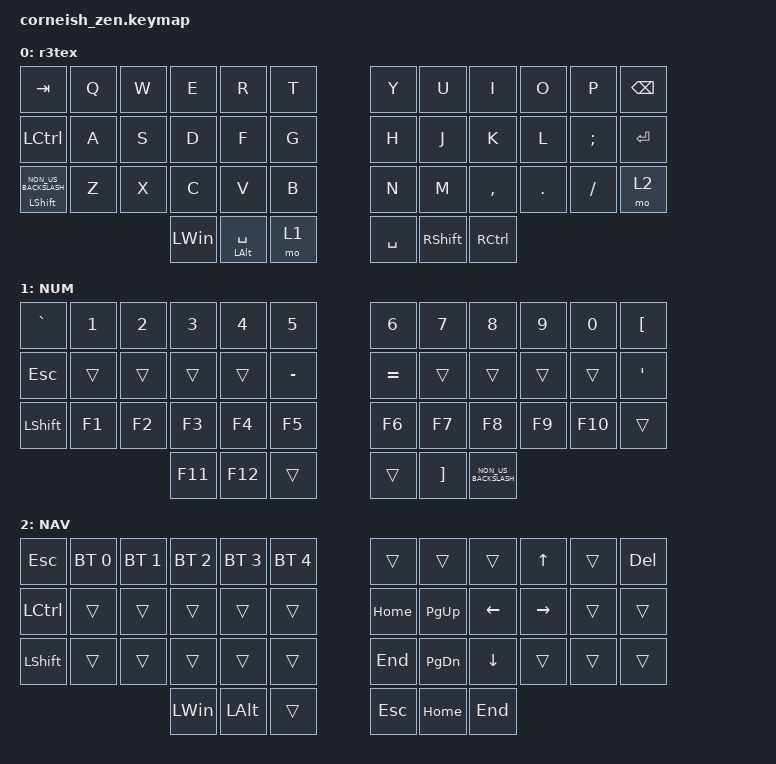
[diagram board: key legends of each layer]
/*
*
* Copyright (c) 2021 Darryl deHaan
* SPDX-License-Identifier: MIT
*
*/

#include <behaviors.dtsi>
#include <dt-bindings/zmk/keys.h>
#include <dt-bindings/zmk/bt.h>

/ {
  chosen {
    zmk,matrix_transform = &default_transform;
    //zmk,matrix_transform = &five_column_transform;
  };
};

/ {
        keymap {
                compatible = "zmk,keymap";

                default_layer {
                        label = "r3tex";
// -----------------------------------------------------------------------------------------
// |  TAB |  Q  |  W  |  E  |  R  |  T  |   |  Y  |  U   |  I  |  O  |  P  | BKSP |
// | LCTRL |  A  |  S  |  D  |  F  |  G  |   |  H  |  J   |  K  |  L  |  ;  | ENT  |
// | LSHFT \ |  Z  |  X  |  C  |  V  |  B  |   |  N  |  M   |  ,  |  .  |  /  | RSE  |
//                    | WIN | LALT SPACE | LWR |   | SPACE | RSE  | ALT |
                        bindings = <
   &kp TAB   &kp Q &kp W &kp E &kp R &kp T   &kp Y &kp U  &kp I     &kp O   &kp P    &kp BSPC
   &kp LCTRL &kp A &kp S &kp D &kp F &kp G   &kp H &kp J  &kp K     &kp L   &kp SEMI &kp RET
   &mt LSHFT NON_US_BACKSLASH &kp Z &kp X &kp C &kp V &kp B   &kp N &kp M  &kp COMMA &kp DOT &kp FSLH &mo 2
                   &kp LWIN &mt LALT SPACE &mo 1 &kp SPACE &kp RSHIFT &kp RCTRL
                        >;
                };



                lower_layer {
                        label = "NUM";
// -----------------------------------------------------------------------------------------
// | `    |  1  |  2  |  3  |  4  |  5  |   |  6  |  7  |  8  |  9  |  0  | [    |
// | ESC  |     |     |     |     | -   |   | =   |     |     |     |     | '    |
// |LSHIFT| F1  | F2  | F3  | F4  | F5  |   | F6  | F7  | F8  | F9  | F10 |      |
//                    | F11 | F12 |     |   |     | ]   | \   |
                        bindings = <
   &kp GRAVE  &kp N1   &kp N2   &kp N3   &kp N4   &kp N5    &kp N6    &kp N7   &kp N8   &kp N9  &kp N0   &kp LBKT
   &kp ESC    &trans   &trans   &trans   &trans   &kp MINUS &kp EQUAL &trans   &trans   &trans  &trans   &kp APOS
   &kp LSHFT  &kp F1   &kp F2   &kp F3   &kp F4   &kp F5    &kp F6    &kp F7   &kp F8   &kp F9  &kp F10  &trans
                                &kp F11  &kp F12  &trans    &trans    &kp RBKT &kp NON_US_BACKSLASH
                        >;
                };




                raise_layer {
                        label = "NAV";
// -----------------------------------------------------------------------------------------
// |  ESC |  BT1|  BT2|  BT3|  BT4|  BT5|   |     |     |     | UP   |      | DEL  |
// | CTRL |     |     |     |     |     |   | HOME|PGUP | LEFT| RIGHT|      |      |
// | SHFT |     |     |     |     |     |   | END |PGDWN| DOWN|      |      |      |
//                    | LWIN| LALT|     |   | ESC |HOME | END |
                        bindings = <
   &kp  ESC  &bt BT_SEL 0 &bt BT_SEL 1 &bt BT_SEL 2 &bt BT_SEL 3 &bt BT_SEL 4 &trans &trans &trans &kp UP &trans &kp DEL
   &kp LCTRL &trans &trans &trans &trans &trans  &kp HOME &kp PG_UP &kp LEFT &kp RIGHT &trans &trans
   &kp LSHFT &trans &trans &trans &trans &trans  &kp END  &kp PG_DN &kp DOWN &trans &trans &trans
                           &kp LWIN &kp LALT &trans &kp ESC &kp HOME &kp END
                        >;
                };
        };
};
